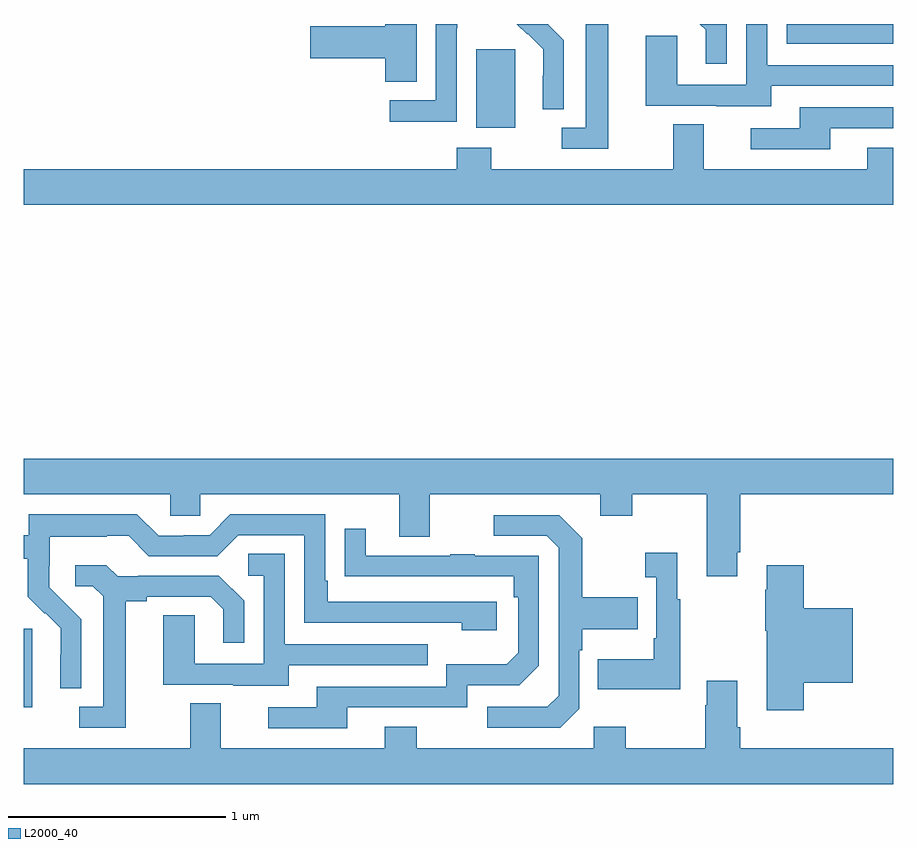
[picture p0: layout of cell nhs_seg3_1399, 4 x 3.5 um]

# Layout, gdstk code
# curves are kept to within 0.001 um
import gdstk
lib = gdstk.Library(unit=1e-6, precision=1e-09)
def R(c, l, rs):  # rectangles x0, y0, x1, y1
    for r in rs: c.add(gdstk.rectangle(r[:2], r[2:], *l))
def P(c, l, *ps):  # polygons
    for p in ps: c.add(gdstk.Polygon(p, *l))
L2000_40 = (2000, 40)

nhs_seg3_1399 = lib.new_cell('nhs_seg3_1399')
R(nhs_seg3_1399, L2000_40, [(183,713.258,183.04,713.619), (185.081,715.922,185.26,716.283), (186.51,716.31,187,716.4)])
P(nhs_seg3_1399, L2000_40, [(184.992,716.38),(184.995,716.38),(184.995,716.4),(184.896,716.4),(184.896,716.049),(184.683,716.049),(184.683,715.951),(184.992,715.951)],
  [(186.234,716.4),(186.11,716.4),(186.137,716.373),(186.137,716.217),(186.234,716.217)],
  [(185.689,716.4),(185.585,716.4),(185.585,715.923),(185.475,715.923),(185.475,715.827),(185.689,715.827)],
  [(186.439,716.115),(187,716.115),(187,716.211),(186.42,716.211),(186.42,716.4),(186.324,716.4),(186.324,716.121),(186.006,716.121),(186.006,716.345),(185.861,716.345),(185.861,716.025),(186.185,716.025),(186.185,716.021),(186.439,716.021)],
  [(185.484,716.326),(185.411,716.399),(185.412,716.4),(185.268,716.4),(185.316,716.352),(185.319,716.355),(185.39,716.285),(185.39,716.162),(185.388,716.162),(185.388,716.008),(185.484,716.008)],
  [(184.807,716.4),(184.664,716.4),(184.664,716.39),(184.317,716.39),(184.317,716.243),(184.664,716.243),(184.664,716.134),(184.807,716.134)],
  [(186.709,715.92),(187,715.92),(187,716.016),(186.569,716.016),(186.569,715.92),(186.345,715.92),(186.345,715.824),(186.709,715.824)],
  [(187,715.831),(186.881,715.831),(186.881,715.732),(186.127,715.732),(186.127,715.94),(185.987,715.94),(185.987,715.732),(185.151,715.732),(185.151,715.831),(184.991,715.831),(184.991,715.732),(183,715.732),(183,715.568),(187,715.568)],
  [(186.283,713.971),(186.296,713.971),(186.296,714.236),(187,714.236),(187,714.4),(183,714.4),(183,714.236),(183.675,714.236),(183.675,714.138),(183.813,714.138),(183.813,714.236),(184.727,714.236),(184.727,714.042),(184.867,714.042),(184.867,714.236),(185.651,714.236),(185.651,714.137),(185.799,714.137),(185.799,714.236),(186.143,714.236),(186.143,713.859),(186.283,713.859)],
  [(183.264,713.662),(183.118,713.81),(183.118,713.907),(183.12,713.907),(183.12,714.041),(183.383,714.041),(183.383,714.045),(183.483,714.045),(183.576,713.952),(183.891,713.952),(183.987,714.048),(184.29,714.048),(184.29,713.646),(185.015,713.646),(185.015,713.612),(185.176,713.612),(185.176,713.742),(184.399,713.742),(184.399,713.839),(184.386,713.839),(184.386,714.144),(183.951,714.144),(183.855,714.048),(183.737,714.048),(183.737,714.045),(183.621,714.045),(183.521,714.145),(183.024,714.145),(183.024,714.048),(183,714.048),(183,713.94),(183.019,713.94),(183.019,713.765),(183.096,713.688),(183.099,713.691),(183.17,713.621),(183.17,713.498),(183.168,713.498),(183.168,713.344),(183.264,713.344)],
  [(185.556,713.25),(185.556,713.519),(185.569,713.519),(185.569,713.615),(185.825,713.615),(185.825,713.763),(185.569,713.763),(185.569,714.035),(185.463,714.141),(185.163,714.141),(185.163,714.045),(185.406,714.045),(185.46,713.991),(185.46,713.31),(185.409,713.259),(185.133,713.259),(185.133,713.163),(185.469,713.163)],
  [(184.489,713.256),(185.04,713.256),(185.04,713.358),(185.28,713.358),(185.37,713.448),(185.37,713.955),(185.075,713.955),(185.075,713.96),(184.963,713.96),(184.963,713.955),(184.573,713.955),(184.573,714.079),(184.477,714.079),(184.477,713.86),(185.254,713.859),(185.254,713.762),(185.274,713.762),(185.274,713.508),(185.221,713.455),(184.944,713.455),(184.944,713.352),(184.349,713.352),(184.349,713.256),(184.125,713.256),(184.125,713.16),(184.489,713.16)],
  [(186.019,713.755),(186.007,713.755),(186.007,713.968),(185.859,713.968),(185.859,713.855),(185.91,713.855),(185.91,713.575),(185.898,713.575),(185.898,713.479),(185.641,713.479),(185.641,713.339),(186.019,713.339)],
  [(184.219,713.451),(184.859,713.451),(184.859,713.547),(184.2,713.547),(184.2,713.963),(184.032,713.963),(184.032,713.862),(184.104,713.862),(184.104,713.457),(183.786,713.457),(183.786,713.681),(183.641,713.681),(183.641,713.361),(183.965,713.361),(183.965,713.357),(184.219,713.357)],
  [(183.469,713.744),(183.565,713.744),(183.565,713.766),(183.86,713.766),(183.917,713.709),(183.917,713.553),(184.014,713.553),(184.014,713.746),(183.898,713.862),(183.526,713.862),(183.526,713.859),(183.432,713.859),(183.38,713.911),(183.237,713.911),(183.237,713.814),(183.318,713.814),(183.365,713.767),(183.365,713.259),(183.255,713.259),(183.255,713.163),(183.469,713.163)],
  [(186.587,713.369),(186.814,713.369),(186.814,713.713),(186.587,713.713),(186.587,713.911),(186.419,713.911),(186.419,713.798),(186.412,713.798),(186.412,713.609),(186.419,713.609),(186.419,713.244),(186.587,713.244)],
  [(187,713.068),(186.296,713.068),(186.296,713.164),(186.283,713.164),(186.283,713.38),(186.143,713.38),(186.143,713.267),(186.136,713.267),(186.136,713.068),(185.769,713.068),(185.769,713.167),(185.622,713.167),(185.622,713.068),(184.809,713.068),(184.809,713.167),(184.661,713.167),(184.661,713.068),(183.907,713.068),(183.907,713.276),(183.767,713.276),(183.767,713.068),(183,713.068),(183,712.904),(187,712.904)])

lib.write_gds('nhs_seg3_1399.gds')
